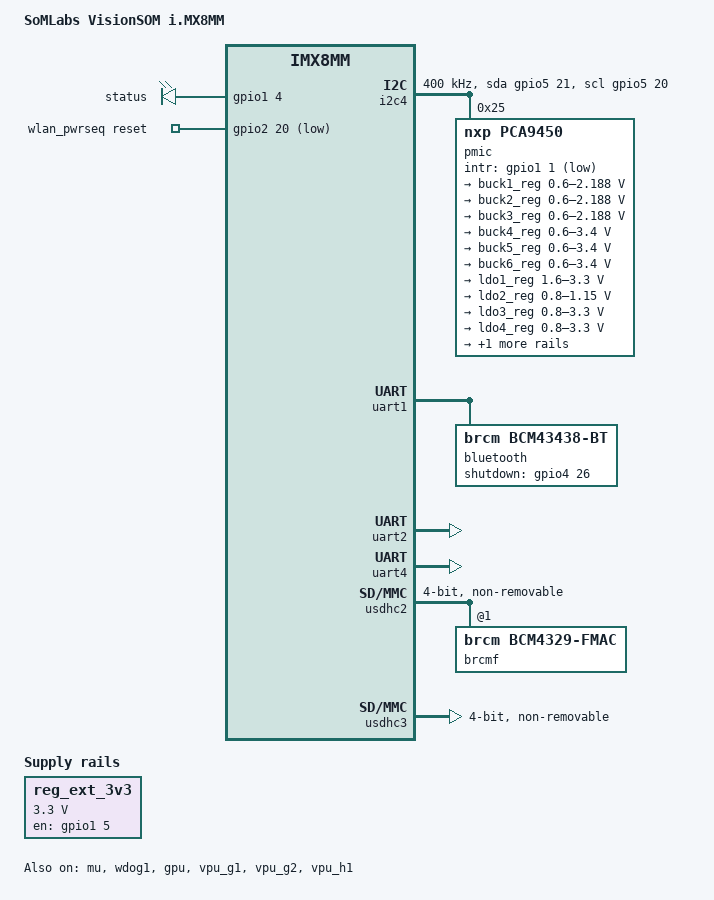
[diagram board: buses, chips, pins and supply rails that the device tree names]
// SPDX-License-Identifier: GPL-2.0-or-later
/*
 * Copyright 2020 SomLabs
 *
 */

/dts-v1/;

#include "imx8mm.dtsi"

/ {
    model = "SoMLabs VisionSOM i.MX8MM";
    compatible = "somlabs,visionsom-imx8mm", "fsl,imx8mm";

    reserved-memory {
        #address-cells = <2>;
        #size-cells = <2>;
        ranges;

        rpmsg_reserved: rpmsg@0xb8000000 {
            no-map;
            reg = <0 0xb8000000 0 0x400000>;
        };
    };

    chosen {
        bootargs = "console=ttymxc3,115200 earlycon=ec_imx6q,0x30a60000,115200";
        stdout-path = &uart4;
    };

    leds {      /* dedicated led for system status */
        compatible = "gpio-leds";
        pinctrl-names = "default";
        pinctrl-0 = <&pinctrl_gpio_led>;

        status {
            label = "status";
            gpios = <&gpio1 4 0>;
            linux,default-trigger = "heartbeat";
        };
    };

    wlan_pwrseq: wlanpwrseq {
        compatible = "mmc-pwrseq-simple";
        pinctrl-names = "default";
        pinctrl-0 = <&pinctrl_wlan_en>;
        reset-gpios = <&gpio2 20 GPIO_ACTIVE_LOW>;
    };

    regulators {
        compatible = "simple-bus";
        #address-cells = <1>;
        #size-cells = <0>;

        reg_ext_3v3: regulator-ext-3v3 {
            compatible = "regulator-fixed";
            regulator-name = "EXT_PWREN";
            regulator-min-microvolt = <3300000>;
            regulator-max-microvolt = <3300000>;
            enable-active-high;
            startup-delay-us = <300000>;
            gpio = <&gpio1 5 GPIO_ACTIVE_HIGH>;
        };

    };
};

&clk {
    assigned-clocks = <&clk IMX8MM_AUDIO_PLL1>, <&clk IMX8MM_AUDIO_PLL2>;
    assigned-clock-rates = <393216000>, <361267200>;
};

&iomuxc {
    pinctrl-names = "default";

    visionsom-imx8mm {

        pinctrl_gpio_led: gpioledgrp {          /* dedicated sys-led output */
            fsl,pins = <
                MX8MM_IOMUXC_GPIO1_IO04_GPIO1_IO4       0x19
            >;
        };

        pinctrl_i2c4: i2c4grp {                 /* PMIC I2C */
            fsl,pins = <
                MX8MM_IOMUXC_I2C4_SCL_I2C4_SCL          0x400000c3
                MX8MM_IOMUXC_I2C4_SDA_I2C4_SDA          0x400000c3
            >;
        };

        pinctrl_i2c4_gpio: i2c4grp-gpio {       /* PMIC I2C in GPIO mode */
            fsl,pins = <
                MX8MM_IOMUXC_I2C4_SCL_GPIO5_IO20        0xc3
                MX8MM_IOMUXC_I2C4_SDA_GPIO5_IO21        0xc3
            >;
        };

        pinctrl_pmic: pmicirq {                 /* PMIC interrupt */
            fsl,pins = <
                MX8MM_IOMUXC_GPIO1_IO01_GPIO1_IO1       0x141
            >;
        };

        pinctrl_uart1_bt: uart1grp {            /* Bluetooth */
            fsl,pins = <
                MX8MM_IOMUXC_SAI2_RXFS_UART1_RX         0x140
                MX8MM_IOMUXC_SAI2_RXC_UART1_TX          0x140
                MX8MM_IOMUXC_SAI2_RXD0_UART1_CTS_B      0x140
                MX8MM_IOMUXC_SAI2_TXFS_UART1_RTS_B      0x140
                MX8MM_IOMUXC_SAI1_MCLK_GPIO4_IO20       0x19       /* BT dev wakeup */
                MX8MM_IOMUXC_SAI2_TXC_GPIO4_IO25        0x19       /* BT host wakeup */
                MX8MM_IOMUXC_SAI2_TXD0_GPIO4_IO26       0x19       /* BT Enable */
            >;
        };

        pinctrl_uart2: uart2grp {
            fsl,pins = <
                MX8MM_IOMUXC_UART2_RXD_UART2_DCE_RX     0
                MX8MM_IOMUXC_UART2_TXD_UART2_DCE_TX     0
            >;
        };

        pinctrl_uart4: uart4grp {
            fsl,pins = <
                MX8MM_IOMUXC_UART4_RXD_UART4_DCE_RX     0
                MX8MM_IOMUXC_UART4_TXD_UART4_DCE_TX     0
            >;
        };

        pinctrl_wlan_en: wlanen {               /* WLAN enable */
            fsl,pins = <
                MX8MM_IOMUXC_SD2_WP_GPIO2_IO20          0x100
            >;
        };

        pinctrl_usdhc2: usdhc2grp {             /* WLAN - USDHC2 */
            fsl,pins = <
                MX8MM_IOMUXC_SD2_CLK_USDHC2_CLK         0x190
                MX8MM_IOMUXC_SD2_CMD_USDHC2_CMD         0x1d0
                MX8MM_IOMUXC_SD2_DATA0_USDHC2_DATA0     0x1d0
                MX8MM_IOMUXC_SD2_DATA1_USDHC2_DATA1     0x1d0
                MX8MM_IOMUXC_SD2_DATA2_USDHC2_DATA2     0x1d0
                MX8MM_IOMUXC_SD2_DATA3_USDHC2_DATA3     0x1d0
            >;
        };

        pinctrl_usdhc2_100mhz: usdhc2grp100mhz {
            fsl,pins = <
                MX8MM_IOMUXC_SD2_CLK_USDHC2_CLK         0x194
                MX8MM_IOMUXC_SD2_CMD_USDHC2_CMD         0x1d4
                MX8MM_IOMUXC_SD2_DATA0_USDHC2_DATA0     0x1d4
                MX8MM_IOMUXC_SD2_DATA1_USDHC2_DATA1     0x1d4
                MX8MM_IOMUXC_SD2_DATA2_USDHC2_DATA2     0x1d4
                MX8MM_IOMUXC_SD2_DATA3_USDHC2_DATA3     0x1d4
            >;
        };

        pinctrl_usdhc2_200mhz: usdhc2grp200mhz {
            fsl,pins = <
                MX8MM_IOMUXC_SD2_CLK_USDHC2_CLK         0x196
                MX8MM_IOMUXC_SD2_CMD_USDHC2_CMD         0x1d6
                MX8MM_IOMUXC_SD2_DATA0_USDHC2_DATA0     0x1d6
                MX8MM_IOMUXC_SD2_DATA1_USDHC2_DATA1     0x1d6
                MX8MM_IOMUXC_SD2_DATA2_USDHC2_DATA2     0x1d6
                MX8MM_IOMUXC_SD2_DATA3_USDHC2_DATA3     0x1d6
            >;
        };

        pinctrl_wlan_hwake: wlanhwake {
            fsl,pins = <
                MX8MM_IOMUXC_SD2_CD_B_GPIO2_IO12        0x111
            >;
        };

        pinctrl_usdhc3: usdhc3grp {             /* USDHC3 - internal uSD/eMMC */
            fsl,pins = <
                MX8MM_IOMUXC_NAND_WE_B_USDHC3_CLK       0x190
                MX8MM_IOMUXC_NAND_WP_B_USDHC3_CMD       0x1d0
                MX8MM_IOMUXC_NAND_DATA04_USDHC3_DATA0   0x1d0
                MX8MM_IOMUXC_NAND_DATA05_USDHC3_DATA1   0x1d0
                MX8MM_IOMUXC_NAND_DATA06_USDHC3_DATA2   0x1d0
                MX8MM_IOMUXC_NAND_DATA07_USDHC3_DATA3   0x1d0
                MX8MM_IOMUXC_NAND_RE_B_USDHC3_DATA4     0x1d0
                MX8MM_IOMUXC_NAND_CE2_B_USDHC3_DATA5    0x1d0
                MX8MM_IOMUXC_NAND_CE3_B_USDHC3_DATA6    0x1d0
                MX8MM_IOMUXC_NAND_CLE_USDHC3_DATA7      0x1d0
                MX8MM_IOMUXC_NAND_CE1_B_USDHC3_STROBE   0x190

            >;
        };

        pinctrl_usdhc3_100mhz: usdhc3grp100mhz {
            fsl,pins = <
                MX8MM_IOMUXC_NAND_WE_B_USDHC3_CLK       0x194
                MX8MM_IOMUXC_NAND_WP_B_USDHC3_CMD       0x1d4
                MX8MM_IOMUXC_NAND_DATA04_USDHC3_DATA0   0x1d4
                MX8MM_IOMUXC_NAND_DATA05_USDHC3_DATA1   0x1d4
                MX8MM_IOMUXC_NAND_DATA06_USDHC3_DATA2   0x1d4
                MX8MM_IOMUXC_NAND_DATA07_USDHC3_DATA3   0x1d4
                MX8MM_IOMUXC_NAND_RE_B_USDHC3_DATA4     0x1d0
                MX8MM_IOMUXC_NAND_CE2_B_USDHC3_DATA5    0x1d0
                MX8MM_IOMUXC_NAND_CE3_B_USDHC3_DATA6    0x1d0
                MX8MM_IOMUXC_NAND_CLE_USDHC3_DATA7      0x1d0
                MX8MM_IOMUXC_NAND_CE1_B_USDHC3_STROBE   0x190
            >;
        };

        pinctrl_usdhc3_200mhz: usdhc3grp200mhz {
            fsl,pins = <
                MX8MM_IOMUXC_NAND_WE_B_USDHC3_CLK       0x196
                MX8MM_IOMUXC_NAND_WP_B_USDHC3_CMD       0x1d6
                MX8MM_IOMUXC_NAND_DATA04_USDHC3_DATA0   0x1d6
                MX8MM_IOMUXC_NAND_DATA05_USDHC3_DATA1   0x1d6
                MX8MM_IOMUXC_NAND_DATA06_USDHC3_DATA2   0x1d6
                MX8MM_IOMUXC_NAND_DATA07_USDHC3_DATA3   0x1d6
                MX8MM_IOMUXC_NAND_RE_B_USDHC3_DATA4     0x1d0
                MX8MM_IOMUXC_NAND_CE2_B_USDHC3_DATA5    0x1d0
                MX8MM_IOMUXC_NAND_CE3_B_USDHC3_DATA6    0x1d0
                MX8MM_IOMUXC_NAND_CLE_USDHC3_DATA7      0x1d0
                MX8MM_IOMUXC_NAND_CE1_B_USDHC3_STROBE   0x190
            >;
        };

        pinctrl_wdog: wdoggrp {
            fsl,pins = <
                MX8MM_IOMUXC_GPIO1_IO02_WDOG1_WDOG_B    0xc6
            >;
        };
    };
};

&i2c4 {
    clock-frequency = <400000>;
    pinctrl-names = "default";
    pinctrl-0 = <&pinctrl_i2c4>;
    pinctrl-1 = <&pinctrl_i2c4_gpio>;
    scl-gpios = <&gpio5 20 GPIO_ACTIVE_HIGH>;
    sda-gpios = <&gpio5 21 GPIO_ACTIVE_HIGH>;
    status = "okay";

    pmic: pca9450@25 {
        reg = <0x25>;
        compatible = "nxp,pca9450";
        /* PMIC PCA9450 PMIC_nINT GPIO1_IO1 */
        pinctrl-0 = <&pinctrl_pmic>;
        gpio_intr = <&gpio1 1 GPIO_ACTIVE_LOW>;

        regulators {
            #address-cells = <1>;
            #size-cells = <0>;

            pca9450,pmic-buck2-uses-i2c-dvs;
            /* Run/Standby voltage */
            pca9450,pmic-buck2-dvs-voltage = <950000>, <850000>;

            buck1_reg: regulator@0 {
                reg = <0>;
                regulator-compatible = "buck1";
                regulator-min-microvolt = <600000>;
                regulator-max-microvolt = <2187500>;
                regulator-boot-on;
                regulator-always-on;
                regulator-ramp-delay = <3125>;
            };

            buck2_reg: regulator@1 {
                reg = <1>;
                regulator-compatible = "buck2";
                regulator-min-microvolt = <600000>;
                regulator-max-microvolt = <2187500>;
                regulator-boot-on;
                regulator-always-on;
                regulator-ramp-delay = <3125>;
            };

            buck3_reg: regulator@2 {
                reg = <2>;
                regulator-compatible = "buck3";
                regulator-min-microvolt = <600000>;
                regulator-max-microvolt = <2187500>;
                regulator-boot-on;
                regulator-always-on;
            };

            buck4_reg: regulator@3 {
                reg = <3>;
                regulator-compatible = "buck4";
                regulator-min-microvolt = <600000>;
                regulator-max-microvolt = <3400000>;
                regulator-boot-on;
                regulator-always-on;
            };

            buck5_reg: regulator@4 {
                reg = <4>;
                regulator-compatible = "buck5";
                regulator-min-microvolt = <600000>;
                regulator-max-microvolt = <3400000>;
                regulator-boot-on;
                regulator-always-on;
            };

            buck6_reg: regulator@5 {
                reg = <5>;
                regulator-compatible = "buck6";
                regulator-min-microvolt = <600000>;
                regulator-max-microvolt = <3400000>;
                regulator-boot-on;
                regulator-always-on;
            };

            ldo1_reg: regulator@6 {
                reg = <6>;
                regulator-compatible = "ldo1";
                regulator-min-microvolt = <1600000>;
                regulator-max-microvolt = <3300000>;
                regulator-boot-on;
                regulator-always-on;
            };

            ldo2_reg: regulator@7 {
                reg = <7>;
                regulator-compatible = "ldo2";
                regulator-min-microvolt = <800000>;
                regulator-max-microvolt = <1150000>;
                regulator-boot-on;
                regulator-always-on;
            };

            ldo3_reg: regulator@8 {
                reg = <8>;
                regulator-compatible = "ldo3";
                regulator-min-microvolt = <800000>;
                regulator-max-microvolt = <3300000>;
                regulator-boot-on;
                regulator-always-on;
            };

            ldo4_reg: regulator@9 {
                reg = <9>;
                regulator-compatible = "ldo4";
                regulator-min-microvolt = <800000>;
                regulator-max-microvolt = <3300000>;
                regulator-boot-on;
                regulator-always-on;
            };

            ldo5_reg: regulator@10 {
                reg = <10>;
                regulator-compatible = "ldo5";
                regulator-min-microvolt = <1800000>;
                regulator-max-microvolt = <3300000>;
            };
        };
    };
};

&mu {
    status = "okay";
};

&uart1 { /* BT */
    pinctrl-names = "default";
    pinctrl-0 = <&pinctrl_uart1_bt>;
    assigned-clocks = <&clk IMX8MM_CLK_UART1>;
    assigned-clock-parents = <&clk IMX8MM_SYS_PLL1_80M>;
    fsl,dte-mode;
    fsl,uart-has-rtscts;
    status = "okay";
    dma-names = "", "";

    bluetooth {
        compatible = "brcm,bcm43438-bt";
        max-speed = <3000000>;
        shutdown-gpios = <&gpio4 26 GPIO_ACTIVE_HIGH>;
    };
};

&uart2 {
    pinctrl-names = "default";
    pinctrl-0 = <&pinctrl_uart2>;
    status = "okay";
};

&uart4 { /* console */
    pinctrl-names = "default";
    pinctrl-0 = <&pinctrl_uart4>;
    status = "okay";
};

&usdhc2 {           /* WLAN module */
    #address-cells = <1>;
    #size-cells = <0>;
    pinctrl-names = "default", "state_100mhz", "state_200mhz";
    pinctrl-0 = <&pinctrl_usdhc2>, <&pinctrl_wlan_hwake>;
    pinctrl-1 = <&pinctrl_usdhc2_100mhz>, <&pinctrl_wlan_hwake>;
    pinctrl-2 = <&pinctrl_usdhc2_200mhz>, <&pinctrl_wlan_hwake>;
    bus-width = <4>;
    pm-ignore-notify;
    keep-power-in-suspend;
    non-removable;
    status = "okay";
    cap-power-off-card;
    mmc-pwrseq = <&wlan_pwrseq>;

    brcmf: bcrmf@1 {
        reg = <1>;
        compatible = "brcm,bcm4329-fmac";
        //interrupt-parent = <&gpio2>;
        //interrupts = <12 IRQ_TYPE_LEVEL_HIGH>;
        //interrupt-names = "host-wake";
    };
};

/*
 *  Internal uSD/eMMC - by default configured for SD card.
 *  Reconfiguration for eMMC is done by u-boot based on boot source.
 *  Due to this, pinmux must be set for 8-bit mode
 *  'non-removable' is set even for SD card, because it is system device and it is expected
 *  not to be removed in run time.
 */
&usdhc3 {
    pinctrl-names = "default", "state_100mhz", "state_200mhz";
    pinctrl-0 = <&pinctrl_usdhc3>;
    pinctrl-1 = <&pinctrl_usdhc3_100mhz>;
    pinctrl-2 = <&pinctrl_usdhc3_200mhz>;
    bus-width = <4>;
    no-1-8-v;
    non-removable;
    status = "okay";
};

&wdog1 {
    pinctrl-names = "default";
    pinctrl-0 = <&pinctrl_wdog>;
    fsl,ext-reset-output;
    status = "okay";
};

&A53_0 {
    arm-supply = <&buck2_reg>;
};

&gpu {
    status = "okay";
};

&vpu_g1 {
    status = "okay";
};

&vpu_g2 {
    status = "okay";
};

&vpu_h1 {
    status = "okay";
};
